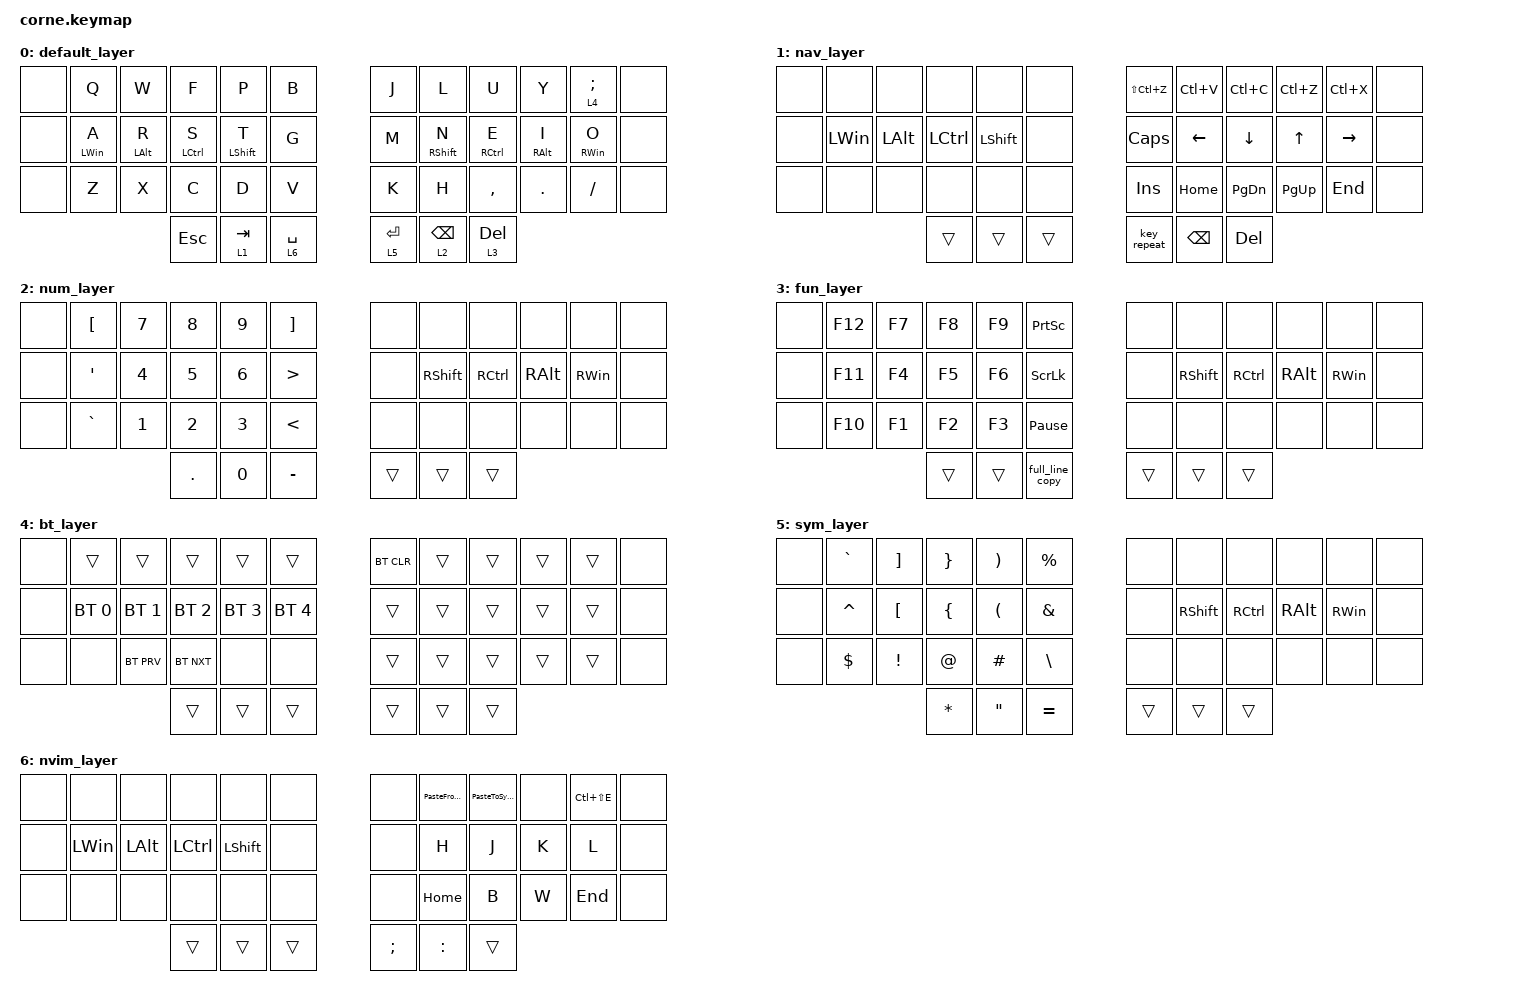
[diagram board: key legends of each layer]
/*
 * Copyright (c) 2020 The ZMK Contributors
 *
 * SPDX-License-Identifier: MIT
 */

#include <behaviors.dtsi>
#include <dt-bindings/zmk/bt.h>
#include <dt-bindings/zmk/keys.h>

/ {
    macros {
        full_line_copy: full_line_clear {
            compatible = "zmk,behavior-macro";
            #binding-cells = <0>;
            bindings = <&kp END &kp LS(HOME) &kp LC(C)>, <&macro_press>;

            label = "FULL_LINE_CLEAR";
        };

        PasteFromSysClipboard: PasteFromSysClipboard {
            compatible = "zmk,behavior-macro";
            #binding-cells = <0>;
            bindings = <&kp DOUBLE_QUOTES &kp ASTERISK &kp P>;
            label = "PASTEFROMSYSCLIPBOARD";
        };

        PasteToSysClipboard: PasteToSysClipboard {
            compatible = "zmk,behavior-macro";
            #binding-cells = <0>;
            bindings = <&kp DOUBLE_QUOTES &kp ASTERISK &kp Y>, <&macro_press>;

            label = "PASTETOSYSCLIPBOARD";
        };
    };

    keymap {
        compatible = "zmk,keymap";

        default_layer {
            bindings = <
&none  &kp Q           &kp W           &kp F        &kp P             &kp B          &kp J        &kp L              &kp U         &kp Y            &lt 4 SEMICOLON  &none
&none  &mt LEFT_WIN A  &mt LEFT_ALT R  &mt LCTRL S  &mt LEFT_SHIFT T  &kp G          &kp M        &mt RIGHT_SHIFT N  &mt RCTRL E   &mt RIGHT_ALT I  &mt RIGHT_WIN O  &none
&none  &kp Z           &kp X           &kp C        &kp D             &kp V          &kp K        &kp H              &kp COMMA     &kp DOT          &kp FSLH         &none
                                       &kp ESC      &lt 1 TAB         &lt 6 SPACE    &lt 5 ENTER  &lt 2 BACKSPACE    &lt 3 DELETE
            >;
        };

        nav_layer {
            bindings = <
&none  &none         &none         &none      &none           &none     &kp LS(LC(Z))  &kp LC(V)      &kp LC(C)      &kp LC(Z)    &kp LC(X)  &none
&none  &kp LEFT_WIN  &kp LEFT_ALT  &kp LCTRL  &kp LEFT_SHIFT  &none     &kp CAPSLOCK   &kp LEFT       &kp DOWN       &kp UP       &kp RIGHT  &none
&none  &none         &none         &none      &none           &none     &kp INSERT     &kp HOME       &kp PAGE_DOWN  &kp PAGE_UP  &kp END    &none
                                   &trans     &trans          &trans    &key_repeat    &kp BACKSPACE  &kp DELETE
            >;
        };

        num_layer {
            bindings = <
&none  &kp LEFT_BRACKET  &kp N7  &kp N8   &kp N9  &kp RIGHT_BRACKET    &none   &none            &none      &none          &none          &none
&none  &kp APOSTROPHE    &kp N4  &kp N5   &kp N6  &kp GT               &none   &kp RIGHT_SHIFT  &kp RCTRL  &kp RIGHT_ALT  &kp RIGHT_WIN  &none
&none  &kp GRAVE         &kp N1  &kp N2   &kp N3  &kp LT               &none   &none            &none      &none          &none          &none
                                 &kp DOT  &kp N0  &kp MINUS            &trans  &trans           &trans
            >;
        };

        fun_layer {
            bindings = <
&none  &kp F12  &kp F7  &kp F8  &kp F9  &kp PRINTSCREEN    &none   &none            &none      &none          &none          &none
&none  &kp F11  &kp F4  &kp F5  &kp F6  &kp SCROLLLOCK     &none   &kp RIGHT_SHIFT  &kp RCTRL  &kp RIGHT_ALT  &kp RIGHT_WIN  &none
&none  &kp F10  &kp F1  &kp F2  &kp F3  &kp PAUSE_BREAK    &none   &none            &none      &none          &none          &none
                        &trans  &trans  &full_line_copy    &trans  &trans           &trans
            >;
        };

        bt_layer {
            bindings = <
&none  &trans        &trans        &trans        &trans        &trans          &bt BT_CLR  &trans  &trans  &trans  &trans  &none
&none  &bt BT_SEL 0  &bt BT_SEL 1  &bt BT_SEL 2  &bt BT_SEL 3  &bt BT_SEL 4    &trans      &trans  &trans  &trans  &trans  &none
&none  &none         &bt BT_PRV    &bt BT_NXT    &none         &none           &trans      &trans  &trans  &trans  &trans  &none
                                   &trans        &trans        &trans          &trans      &trans  &trans
            >;
        };

        sym_layer {
            bindings = <
&none  &kp GRAVE   &kp RIGHT_BRACKET  &kp RIGHT_BRACE  &kp RIGHT_PARENTHESIS  &kp PERCENT      &none   &none            &none      &none          &none          &none
&none  &kp CARET   &kp LEFT_BRACKET   &kp LEFT_BRACE   &kp LEFT_PARENTHESIS   &kp AMPERSAND    &none   &kp RIGHT_SHIFT  &kp RCTRL  &kp RIGHT_ALT  &kp RIGHT_WIN  &none
&none  &kp DOLLAR  &kp EXCLAMATION    &kp AT_SIGN      &kp HASH               &kp BACKSLASH    &none   &none            &none      &none          &none          &none
                                      &kp ASTERISK     &kp DOUBLE_QUOTES      &kp EQUAL        &trans  &trans           &trans
            >;
        };

        nvim_layer {
            bindings = <
&none  &none         &none         &none      &none           &none     &none          &PasteFromSysClipboard  &PasteToSysClipboard  &none  &kp LC(LS(E))  &none
&none  &kp LEFT_WIN  &kp LEFT_ALT  &kp LCTRL  &kp LEFT_SHIFT  &none     &none          &kp H                   &kp J                 &kp K  &kp L          &none
&none  &none         &none         &none      &none           &none     &none          &kp HOME                &kp B                 &kp W  &kp END        &none
                                   &trans     &trans          &trans    &kp SEMICOLON  &kp COLON               &trans
            >;
        };
    };

    conditional_layers { compatible = "zmk,conditional-layers"; };
};
